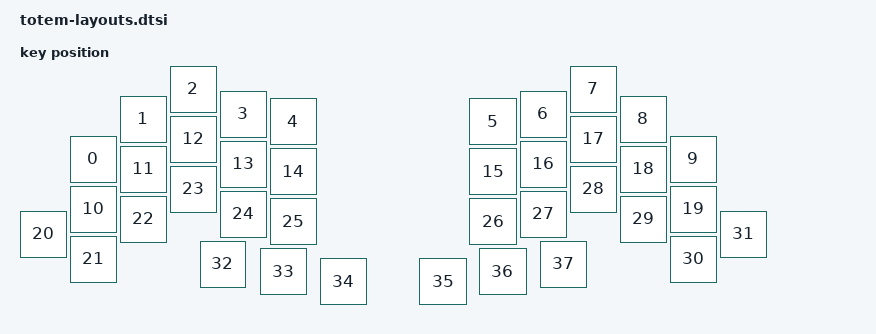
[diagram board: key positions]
/*
 * Physical layout for TOTEM 38-key split keyboard
 * Key positions derived from QMK keyboard.json
 * Required for ZMK Studio support
 */

#include <physical_layouts.dtsi>

/ {
    totem_physical_layout: totem_physical_layout {
        compatible = "zmk,physical-layout";
        display-name = "TOTEM";
        transform = <&default_transform>;
        kscan = <&kscan0>;
        keys  //                     w   h    x    y     rot    rx    ry
            = <&key_physical_attrs 100 100  100  140       0     0     0>   // L00
            , <&key_physical_attrs 100 100  200   60       0     0     0>   // L01
            , <&key_physical_attrs 100 100  300    0       0     0     0>   // L02
            , <&key_physical_attrs 100 100  400   50       0     0     0>   // L03
            , <&key_physical_attrs 100 100  500   65       0     0     0>   // L04
            , <&key_physical_attrs 100 100  900   65       0     0     0>   // R00
            , <&key_physical_attrs 100 100 1000   50       0     0     0>   // R01
            , <&key_physical_attrs 100 100 1100    0       0     0     0>   // R02
            , <&key_physical_attrs 100 100 1200   60       0     0     0>   // R03
            , <&key_physical_attrs 100 100 1300  140       0     0     0>   // R04
            , <&key_physical_attrs 100 100  100  240       0     0     0>   // L10
            , <&key_physical_attrs 100 100  200  160       0     0     0>   // L11
            , <&key_physical_attrs 100 100  300  100       0     0     0>   // L12
            , <&key_physical_attrs 100 100  400  150       0     0     0>   // L13
            , <&key_physical_attrs 100 100  500  165       0     0     0>   // L14
            , <&key_physical_attrs 100 100  900  165       0     0     0>   // R10
            , <&key_physical_attrs 100 100 1000  150       0     0     0>   // R11
            , <&key_physical_attrs 100 100 1100  100       0     0     0>   // R12
            , <&key_physical_attrs 100 100 1200  160       0     0     0>   // R13
            , <&key_physical_attrs 100 100 1300  240       0     0     0>   // R14
            , <&key_physical_attrs 100 100    0  290       0     0     0>   // L30 (outer pinky)
            , <&key_physical_attrs 100 100  100  340       0     0     0>   // L20
            , <&key_physical_attrs 100 100  200  260       0     0     0>   // L21
            , <&key_physical_attrs 100 100  300  200       0     0     0>   // L22
            , <&key_physical_attrs 100 100  400  250       0     0     0>   // L23
            , <&key_physical_attrs 100 100  500  265       0     0     0>   // L24
            , <&key_physical_attrs 100 100  900  265       0     0     0>   // R20
            , <&key_physical_attrs 100 100 1000  250       0     0     0>   // R21
            , <&key_physical_attrs 100 100 1100  200       0     0     0>   // R22
            , <&key_physical_attrs 100 100 1200  260       0     0     0>   // R23
            , <&key_physical_attrs 100 100 1300  340       0     0     0>   // R24
            , <&key_physical_attrs 100 100 1400  290       0     0     0>   // R34 (outer pinky)
            , <&key_physical_attrs 100 100  360  350       0     0     0>   // L32 (thumb)
            , <&key_physical_attrs 100 100  480  365       0     0     0>   // L33 (thumb)
            , <&key_physical_attrs 100 100  600  385       0     0     0>   // L34 (thumb)
            , <&key_physical_attrs 100 100  800  385       0     0     0>   // R30 (thumb)
            , <&key_physical_attrs 100 100  920  365       0     0     0>   // R31 (thumb)
            , <&key_physical_attrs 100 100 1040  350       0     0     0>   // R32 (thumb)
            ;
    };
};
